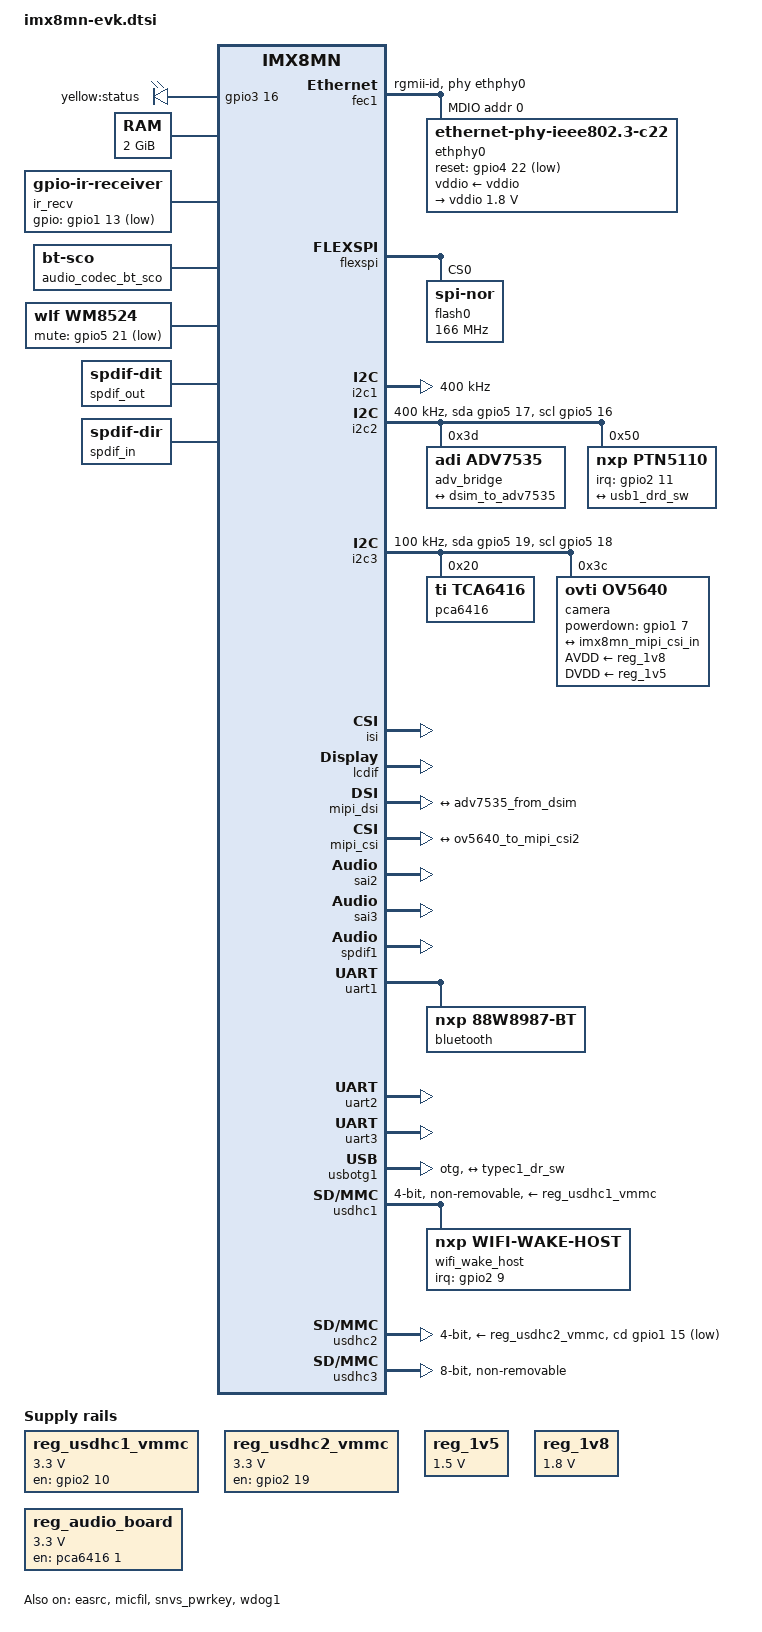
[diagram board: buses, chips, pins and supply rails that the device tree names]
// SPDX-License-Identifier: (GPL-2.0+ OR MIT)
/*
 * Copyright 2019 NXP
 */

#include <dt-bindings/usb/pd.h>
#include "imx8mn.dtsi"

/ {
	chosen {
		stdout-path = &uart2;
	};

	gpio-leds {
		compatible = "gpio-leds";
		pinctrl-names = "default";
		pinctrl-0 = <&pinctrl_gpio_led>;

		status {
			label = "yellow:status";
			gpios = <&gpio3 16 GPIO_ACTIVE_HIGH>;
			default-state = "on";
		};
	};

	memory@40000000 {
		device_type = "memory";
		reg = <0x0 0x40000000 0 0x80000000>;
	};

	ir_recv: ir-receiver {
		compatible = "gpio-ir-receiver";
		gpios = <&gpio1 13 GPIO_ACTIVE_LOW>;
		pinctrl-names = "default";
		pinctrl-0 = <&pinctrl_ir_recv>;
		linux,autosuspend-period = <125>;
	};

	reg_usdhc1_vmmc: regulator-usdhc1 {
		compatible = "regulator-fixed";
		regulator-name = "WLAN_EN";
		pinctrl-names = "default";
		pinctrl-0 = <&pinctrl_reg_usdhc1_vmmc>;
		regulator-min-microvolt = <3300000>;
		regulator-max-microvolt = <3300000>;
		gpio = <&gpio2 10 GPIO_ACTIVE_HIGH>;
		enable-active-high;
	};

	reg_usdhc2_vmmc: regulator-usdhc2 {
		compatible = "regulator-fixed";
		pinctrl-names = "default";
		pinctrl-0 = <&pinctrl_reg_usdhc2_vmmc>;
		regulator-name = "VSD_3V3";
		regulator-min-microvolt = <3300000>;
		regulator-max-microvolt = <3300000>;
		gpio = <&gpio2 19 GPIO_ACTIVE_HIGH>;
		off-on-delay-us = <12000>;
		enable-active-high;
	};

	reg_1v5: regulator-1v5 {
		compatible = "regulator-fixed";
		regulator-name = "VDD_1V5";
		regulator-min-microvolt = <1500000>;
		regulator-max-microvolt = <1500000>;
	};

	reg_1v8: regulator-1v8 {
		compatible = "regulator-fixed";
		regulator-name = "VDD_1V8";
		regulator-min-microvolt = <1800000>;
		regulator-max-microvolt = <1800000>;
	};

	ir-receiver {
		compatible = "gpio-ir-receiver";
		gpios = <&gpio1 13 GPIO_ACTIVE_LOW>;
		pinctrl-names = "default";
		pinctrl-0 = <&pinctrl_ir>;
		linux,autosuspend-period = <125>;
	};

	reg_audio_board: regulator-audio-board {
		compatible = "regulator-fixed";
		regulator-name = "EXT_PWREN";
		regulator-min-microvolt = <3300000>;
		regulator-max-microvolt = <3300000>;
		enable-active-high;
		startup-delay-us = <300000>;
		gpio = <&pca6416 1 GPIO_ACTIVE_HIGH>;
		regulator-always-on;
	};

	audio_codec_bt_sco: audio-codec-bt-sco {
		compatible = "linux,bt-sco";
		#sound-dai-cells = <1>;
	};

	wm8524: audio-codec {
		#sound-dai-cells = <0>;
		compatible = "wlf,wm8524";
		pinctrl-names = "default";
		pinctrl-0 = <&pinctrl_gpio_wlf>;
		wlf,mute-gpios = <&gpio5 21 GPIO_ACTIVE_LOW>;
		clocks = <&clk IMX8MN_CLK_SAI3_ROOT>;
		clock-names = "mclk";
	};

	sound-bt-sco {
		compatible = "simple-audio-card";
		simple-audio-card,name = "bt-sco-audio";
		simple-audio-card,format = "dsp_a";
		simple-audio-card,bitclock-inversion;
		simple-audio-card,frame-master = <&btcpu>;
		simple-audio-card,bitclock-master = <&btcpu>;

		btcpu: simple-audio-card,cpu {
			sound-dai = <&sai2>;
			dai-tdm-slot-num = <2>;
			dai-tdm-slot-width = <16>;
		};

		simple-audio-card,codec {
			sound-dai = <&audio_codec_bt_sco 1>;
		};
	};

	sound-wm8524 {
		compatible = "fsl,imx-audio-wm8524";
		model = "wm8524-audio";
		audio-cpu = <&sai3>;
		audio-codec = <&wm8524>;
		audio-asrc = <&easrc>;
		audio-routing =
			"Line Out Jack", "LINEVOUTL",
			"Line Out Jack", "LINEVOUTR";
	};

	spdif_out: spdif-out {
		compatible = "linux,spdif-dit";
		#sound-dai-cells = <0>;
	};

	spdif_in: spdif-in {
		compatible = "linux,spdif-dir";
		#sound-dai-cells = <0>;
	};

	sound-spdif {
		compatible = "fsl,imx-audio-spdif";
		model = "imx-spdif";
		audio-cpu = <&spdif1>;
		audio-codec = <&spdif_out>, <&spdif_in>;
	};

	sound-micfil {
		compatible = "fsl,imx-audio-card";
		model = "micfil-audio";

		pri-dai-link {
			link-name = "micfil hifi";
			format = "i2s";

			cpu {
				sound-dai = <&micfil>;
			};
		};
	};

	sound-ak5558 {
		compatible = "fsl,imx-audio-card";
		model = "ak5558-audio";
		status = "disabled";
		pri-dai-link {
			link-name = "akcodec";
			format = "i2s";
			fsl,mclk-equal-bclk;
			cpu {
				sound-dai = <&sai5>;
			};
			codec {
				sound-dai = <&ak5558>;
			};
		};
		fe-dai-link {
			link-name = "HiFi-ASRC-FE";
			format = "i2s";
			cpu {
				sound-dai = <&easrc>;
			};
		};
		be-dai-link {
			link-name = "HiFi-ASRC-BE";
			format = "dsp_b";
			dai-tdm-slot-num = <8>;
			dai-tdm-slot-width = <32>;
			cpu {
				sound-dai = <&sai5>;
			};
			codec {
				sound-dai = <&ak5558>;
			};
		};
	};
};

&easrc {
	#sound-dai-cells = <0>;
	fsl,asrc-rate = <48000>;
	status = "okay";
};

&fec1 {
	pinctrl-names = "default";
	pinctrl-0 = <&pinctrl_fec1>;
	phy-mode = "rgmii-id";
	phy-handle = <&ethphy0>;
	fsl,magic-packet;
	status = "okay";

	mdio {
		#address-cells = <1>;
		#size-cells = <0>;

		ethphy0: ethernet-phy@0 {
			compatible = "ethernet-phy-ieee802.3-c22";
			reg = <0>;
			reset-gpios = <&gpio4 22 GPIO_ACTIVE_LOW>;
			reset-assert-us = <10000>;
			reset-deassert-us = <80000>;
			realtek,aldps-enable;
			realtek,clkout-disable;
			qca,disable-smarteee;
			vddio-supply = <&vddio>;

			vddio: vddio-regulator {
				regulator-min-microvolt = <1800000>;
				regulator-max-microvolt = <1800000>;
			};
		};
	};
};

&flexspi {
	pinctrl-names = "default";
	pinctrl-0 = <&pinctrl_flexspi>;
	status = "okay";

	flash0: flash@0 {
		compatible = "jedec,spi-nor";
		reg = <0>;
		#address-cells = <1>;
		#size-cells = <1>;
		spi-max-frequency = <166000000>;
		spi-tx-bus-width = <1>;
		spi-rx-bus-width = <4>;
	};
};

&i2c1 {
	clock-frequency = <400000>;
	pinctrl-names = "default";
	pinctrl-0 = <&pinctrl_i2c1>;
	status = "okay";
};

&i2c2 {
	clock-frequency = <400000>;
	pinctrl-names = "default", "gpio";
	pinctrl-0 = <&pinctrl_i2c2>;
	pinctrl-1 = <&pinctrl_i2c2_gpio>;
	scl-gpios = <&gpio5 16 (GPIO_ACTIVE_HIGH | GPIO_OPEN_DRAIN)>;
	sda-gpios = <&gpio5 17 (GPIO_ACTIVE_HIGH | GPIO_OPEN_DRAIN)>;
	status = "okay";

	adv_bridge: adv7535@3d {
		compatible = "adi,adv7535";
		reg = <0x3d>;
		adi,addr-cec = <0x3b>;
		adi,dsi-lanes = <4>;
		status = "okay";

		port {
			adv7535_from_dsim: endpoint {
				remote-endpoint = <&dsim_to_adv7535>;
			};
		};
	};

	ptn5110: tcpc@50 {
		compatible = "nxp,ptn5110", "tcpci";
		pinctrl-names = "default";
		pinctrl-0 = <&pinctrl_typec1>;
		reg = <0x50>;
		interrupt-parent = <&gpio2>;
		interrupts = <11 IRQ_TYPE_LEVEL_LOW>;
		status = "okay";

		typec1_con: connector {
			compatible = "usb-c-connector";
			label = "USB-C";
			power-role = "dual";
			data-role = "dual";
			try-power-role = "sink";
			source-pdos = <PDO_FIXED(5000, 3000, PDO_FIXED_USB_COMM)>;
			sink-pdos = <PDO_FIXED(5000, 3000, PDO_FIXED_USB_COMM)
				     PDO_VAR(5000, 20000, 3000)>;
			op-sink-microwatt = <15000000>;
			self-powered;

			port {
				typec1_dr_sw: endpoint {
					remote-endpoint = <&usb1_drd_sw>;
				};
			};
		};
	};
};

&i2c3 {
	clock-frequency = <100000>;
	pinctrl-names = "default", "gpio";
	pinctrl-0 = <&pinctrl_i2c3>;
	pinctrl-1 = <&pinctrl_i2c3_gpio>;
	scl-gpios = <&gpio5 18 GPIO_ACTIVE_HIGH>;
	sda-gpios = <&gpio5 19 GPIO_ACTIVE_HIGH>;
	status = "okay";

	pca6416: gpio@20 {
		compatible = "ti,tca6416";
		reg = <0x20>;
		gpio-controller;
		#gpio-cells = <2>;

		ak5558-reset-hog {
			gpio-hog;
			gpios = <3 GPIO_ACTIVE_LOW>;
			output-low;
		};

		ak4497-reset-hog {
			gpio-hog;
			gpios = <5 GPIO_ACTIVE_LOW>;
			output-low;
		};
	};

	ak4458_1: ak4458@10 {
		#sound-dai-cells = <0>;
		compatible = "asahi-kasei,ak4458";
		reg = <0x10>;
		AVDD-supply = <&reg_audio_board>;
		DVDD-supply = <&reg_audio_board>;
		status = "disabled";
	};

	ak4458_2: ak4458@12 {
		#sound-dai-cells = <0>;
		compatible = "asahi-kasei,ak4458";
		reg = <0x12>;
		AVDD-supply = <&reg_audio_board>;
		DVDD-supply = <&reg_audio_board>;
		status = "disabled";
	};

	ak5558: ak5558@13 {
		#sound-dai-cells = <0>;
		compatible = "asahi-kasei,ak5558";
		reg = <0x13>;
		AVDD-supply = <&reg_audio_board>;
		DVDD-supply = <&reg_audio_board>;
		status = "disabled";
	};

	ak4497: ak4497@11 {
		#sound-dai-cells = <0>;
		compatible = "asahi-kasei,ak4497";
		reg = <0x11>;
		AVDD-supply = <&reg_audio_board>;
		DVDD-supply = <&reg_audio_board>;
		status = "disabled";
	};

	camera@3c {
		compatible = "ovti,ov5640";
		reg = <0x3c>;
		pinctrl-names = "default";
		pinctrl-0 = <&pinctrl_camera>;
		clocks = <&clk IMX8MN_CLK_CLKO1>;
		clock-names = "xclk";
		assigned-clocks = <&clk IMX8MN_CLK_CLKO1>;
		assigned-clock-parents = <&clk IMX8MN_CLK_24M>;
		assigned-clock-rates = <24000000>;
		powerdown-gpios = <&gpio1 7 GPIO_ACTIVE_HIGH>;
		AVDD-supply = <&reg_1v8>;
		DVDD-supply = <&reg_1v5>;

		port {
			ov5640_to_mipi_csi2: endpoint {
				remote-endpoint = <&imx8mn_mipi_csi_in>;
				clock-lanes = <0>;
				data-lanes = <1 2>;
			};
		};
	};
};

&isi {
	status = "okay";
};

&lcdif {
	status = "okay";
};

&mipi_dsi {
	status = "okay";

	port@1 {

		dsim_to_adv7535: endpoint {
			remote-endpoint = <&adv7535_from_dsim>;
			attach-bridge;
		};
	};
};

&micfil {
	#sound-dai-cells = <0>;
	pinctrl-names = "default";
	pinctrl-0 = <&pinctrl_pdm>;
	assigned-clocks = <&clk IMX8MN_CLK_PDM>;
	assigned-clock-parents = <&clk IMX8MN_AUDIO_PLL1_OUT>;
	assigned-clock-rates = <196608000>;
	status = "okay";
};

&mipi_csi {
	status = "okay";

	ports {
		port@0 {
			imx8mn_mipi_csi_in: endpoint {
				remote-endpoint = <&ov5640_to_mipi_csi2>;
				data-lanes = <1 2>;
			};
		};
	};
};

&sai2 {
	#sound-dai-cells = <0>;
	pinctrl-names = "default";
	pinctrl-0 = <&pinctrl_sai2>;
	assigned-clocks = <&clk IMX8MN_CLK_SAI2>;
	assigned-clock-parents = <&clk IMX8MN_AUDIO_PLL1_OUT>;
	assigned-clock-rates = <24576000>;
	fsl,sai-mclk-direction-output;
	status = "okay";
};

&sai3 {
	pinctrl-names = "default";
	pinctrl-0 = <&pinctrl_sai3>;
	assigned-clocks = <&clk IMX8MN_CLK_SAI3>;
	assigned-clock-parents = <&clk IMX8MN_AUDIO_PLL1_OUT>;
	assigned-clock-rates = <24576000>;
	fsl,sai-mclk-direction-output;
	status = "okay";
};

&sai5 {
	#sound-dai-cells = <0>;
	pinctrl-names = "default";
	pinctrl-0 = <&pinctrl_sai5>;
	assigned-clocks = <&clk IMX8MN_CLK_SAI5>;
	assigned-clock-parents = <&clk IMX8MN_AUDIO_PLL1_OUT>;
	assigned-clock-rates = <49152000>;
	clocks = <&clk IMX8MN_CLK_SAI5_IPG>, <&clk IMX8MN_CLK_DUMMY>,
		<&clk IMX8MN_CLK_SAI5_ROOT>, <&clk IMX8MN_CLK_DUMMY>,
		<&clk IMX8MN_CLK_DUMMY>, <&clk IMX8MN_AUDIO_PLL1_OUT>,
		<&clk IMX8MN_AUDIO_PLL2_OUT>;
	clock-names = "bus", "mclk0", "mclk1", "mclk2", "mclk3", "pll8k", "pll11k";
	fsl,sai-asynchronous;
	fsl,sai-multi-lane;
	fsl,sai-mclk-direction-output;
	dmas = <&sdma2 8 25 0>, <&sdma2 9 25 0>;
	status = "disabled";
};

&snvs_pwrkey {
	status = "okay";
};

&spdif1 {
	pinctrl-names = "default";
	pinctrl-0 = <&pinctrl_spdif1>;
	assigned-clocks = <&clk IMX8MN_CLK_SPDIF1>;
	assigned-clock-parents = <&clk IMX8MN_AUDIO_PLL1_OUT>;
	assigned-clock-rates = <24576000>;
	clocks = <&clk IMX8MN_CLK_AUDIO_AHB>, <&clk IMX8MN_CLK_24M>,
		<&clk IMX8MN_CLK_SPDIF1>, <&clk IMX8MN_CLK_DUMMY>,
		<&clk IMX8MN_CLK_DUMMY>, <&clk IMX8MN_CLK_DUMMY>,
		<&clk IMX8MN_CLK_AUDIO_AHB>, <&clk IMX8MN_CLK_DUMMY>,
		<&clk IMX8MN_CLK_DUMMY>, <&clk IMX8MN_CLK_DUMMY>,
		<&clk IMX8MN_AUDIO_PLL1_OUT>, <&clk IMX8MN_AUDIO_PLL2_OUT>;
	clock-names = "core", "rxtx0", "rxtx1", "rxtx2", "rxtx3",
		"rxtx4", "rxtx5", "rxtx6", "rxtx7", "spba", "pll8k", "pll11k";
	status = "okay";
};

&uart1 { /* BT */
	pinctrl-names = "default";
	pinctrl-0 = <&pinctrl_uart1>;
	assigned-clocks = <&clk IMX8MN_CLK_UART1>;
	assigned-clock-parents = <&clk IMX8MN_SYS_PLL1_80M>;
	uart-has-rtscts;
	status = "okay";

	bluetooth {
		compatible = "nxp,88w8987-bt";
	};
};

&uart2 { /* console */
	pinctrl-names = "default";
	pinctrl-0 = <&pinctrl_uart2>;
	status = "okay";
};

&uart3 {
	pinctrl-names = "default";
	pinctrl-0 = <&pinctrl_uart3>;
	assigned-clocks = <&clk IMX8MN_CLK_UART3>;
	assigned-clock-parents = <&clk IMX8MN_SYS_PLL1_80M>;
	uart-has-rtscts;
	status = "okay";
};

&usbphynop1 {
	wakeup-source;
};

&usbotg1 {
	dr_mode = "otg";
	hnp-disable;
	srp-disable;
	adp-disable;
	usb-role-switch;
	disable-over-current;
	samsung,picophy-pre-emp-curr-control = <3>;
	samsung,picophy-dc-vol-level-adjust = <7>;
	status = "okay";

	port {
		usb1_drd_sw: endpoint {
			remote-endpoint = <&typec1_dr_sw>;
		};
	};
};

&usdhc1 {
	pinctrl-names = "default", "state_100mhz", "state_200mhz";
	pinctrl-0 = <&pinctrl_usdhc1>, <&pinctrl_wlan>;
	pinctrl-1 = <&pinctrl_usdhc1_100mhz>, <&pinctrl_wlan>;
	pinctrl-2 = <&pinctrl_usdhc1_200mhz>, <&pinctrl_wlan>;
	bus-width = <4>;
	keep-power-in-suspend;
	non-removable;
	wakeup-source;
	vmmc-supply = <&reg_usdhc1_vmmc>;
	status = "okay";

	wifi_wake_host {
		compatible = "nxp,wifi-wake-host";
		interrupt-parent = <&gpio2>;
		interrupts = <9 IRQ_TYPE_LEVEL_LOW>;
		interrupt-names = "host-wake";
	};
};

&usdhc2 {
	assigned-clocks = <&clk IMX8MN_CLK_USDHC2>;
	assigned-clock-rates = <200000000>;
	pinctrl-names = "default", "state_100mhz", "state_200mhz";
	pinctrl-0 = <&pinctrl_usdhc2>, <&pinctrl_usdhc2_gpio>;
	pinctrl-1 = <&pinctrl_usdhc2_100mhz>, <&pinctrl_usdhc2_gpio>;
	pinctrl-2 = <&pinctrl_usdhc2_200mhz>, <&pinctrl_usdhc2_gpio>;
	cd-gpios = <&gpio1 15 GPIO_ACTIVE_LOW>;
	bus-width = <4>;
	vmmc-supply = <&reg_usdhc2_vmmc>;
	status = "okay";
};

&usdhc3 {
	assigned-clocks = <&clk IMX8MN_CLK_USDHC3_ROOT>;
	assigned-clock-rates = <400000000>;
	pinctrl-names = "default", "state_100mhz", "state_200mhz";
	pinctrl-0 = <&pinctrl_usdhc3>;
	pinctrl-1 = <&pinctrl_usdhc3_100mhz>;
	pinctrl-2 = <&pinctrl_usdhc3_200mhz>;
	bus-width = <8>;
	non-removable;
	status = "okay";
};

&wdog1 {
	pinctrl-names = "default";
	pinctrl-0 = <&pinctrl_wdog>;
	fsl,ext-reset-output;
	status = "okay";
};

&iomuxc {
	pinctrl_camera: cameragrp {
		fsl,pins = <
			MX8MN_IOMUXC_GPIO1_IO06_GPIO1_IO6		0x19
			MX8MN_IOMUXC_GPIO1_IO07_GPIO1_IO7		0x19
			MX8MN_IOMUXC_GPIO1_IO14_CCMSRCGPCMIX_CLKO1	0x59
		>;
	};

	pinctrl_ir_recv: ir-recv {
		fsl,pins = <
			MX8MN_IOMUXC_GPIO1_IO13_GPIO1_IO13		0x4f
		>;
	};

	pinctrl_fec1: fec1grp {
		fsl,pins = <
			MX8MN_IOMUXC_ENET_MDC_ENET1_MDC		0x3
			MX8MN_IOMUXC_ENET_MDIO_ENET1_MDIO	0x3
			MX8MN_IOMUXC_ENET_TD3_ENET1_RGMII_TD3	0x1f
			MX8MN_IOMUXC_ENET_TD2_ENET1_RGMII_TD2	0x1f
			MX8MN_IOMUXC_ENET_TD1_ENET1_RGMII_TD1	0x1f
			MX8MN_IOMUXC_ENET_TD0_ENET1_RGMII_TD0	0x1f
			MX8MN_IOMUXC_ENET_RD3_ENET1_RGMII_RD3	0x91
			MX8MN_IOMUXC_ENET_RD2_ENET1_RGMII_RD2	0x91
			MX8MN_IOMUXC_ENET_RD1_ENET1_RGMII_RD1	0x91
			MX8MN_IOMUXC_ENET_RD0_ENET1_RGMII_RD0	0x91
			MX8MN_IOMUXC_ENET_TXC_ENET1_RGMII_TXC	0x1f
			MX8MN_IOMUXC_ENET_RXC_ENET1_RGMII_RXC	0x91
			MX8MN_IOMUXC_ENET_RX_CTL_ENET1_RGMII_RX_CTL	0x91
			MX8MN_IOMUXC_ENET_TX_CTL_ENET1_RGMII_TX_CTL	0x1f
			MX8MN_IOMUXC_SAI2_RXC_GPIO4_IO22	0x19
		>;
	};

	pinctrl_flexspi: flexspigrp {
		fsl,pins = <
			MX8MN_IOMUXC_NAND_ALE_QSPI_A_SCLK               0x1c2
			MX8MN_IOMUXC_NAND_CE0_B_QSPI_A_SS0_B            0x82
			MX8MN_IOMUXC_NAND_DATA00_QSPI_A_DATA0           0x82
			MX8MN_IOMUXC_NAND_DATA01_QSPI_A_DATA1           0x82
			MX8MN_IOMUXC_NAND_DATA02_QSPI_A_DATA2           0x82
			MX8MN_IOMUXC_NAND_DATA03_QSPI_A_DATA3           0x82
		>;
	};

	pinctrl_gpio_led: gpioledgrp {
		fsl,pins = <
			MX8MN_IOMUXC_NAND_READY_B_GPIO3_IO16	0x19
		>;
	};

	pinctrl_i2c2_synaptics_dsx_io: synaptics_dsx_iogrp {
		fsl,pins = <
			MX8MN_IOMUXC_GPIO1_IO09_GPIO1_IO9		0x19
		>;
	};

	pinctrl_gpio_wlf: gpiowlfgrp {
		fsl,pins = <
			MX8MN_IOMUXC_I2C4_SDA_GPIO5_IO21	0xd6
		>;
	};

	pinctrl_ir: irgrp {
		fsl,pins = <
			MX8MN_IOMUXC_GPIO1_IO13_GPIO1_IO13              0x4f
		>;
	};

	pinctrl_i2c1: i2c1grp {
		fsl,pins = <
			MX8MN_IOMUXC_I2C1_SCL_I2C1_SCL		0x400001c3
			MX8MN_IOMUXC_I2C1_SDA_I2C1_SDA		0x400001c3
		>;
	};

	pinctrl_i2c2: i2c2grp {
		fsl,pins = <
			MX8MN_IOMUXC_I2C2_SCL_I2C2_SCL		0x400001c3
			MX8MN_IOMUXC_I2C2_SDA_I2C2_SDA		0x400001c3
		>;
	};

	pinctrl_i2c2_gpio: i2c2gpiogrp {
		fsl,pins = <
			MX8MN_IOMUXC_I2C2_SCL_GPIO5_IO16	0x1c3
			MX8MN_IOMUXC_I2C2_SDA_GPIO5_IO17	0x1c3
		>;
	};

	pinctrl_i2c3: i2c3grp {
		fsl,pins = <
			MX8MN_IOMUXC_I2C3_SCL_I2C3_SCL		0x400001c3
			MX8MN_IOMUXC_I2C3_SDA_I2C3_SDA		0x400001c3
		>;
	};

	pinctrl_i2c3_gpio: i2c3gpiogrp {
		fsl,pins = <
			MX8MN_IOMUXC_I2C3_SCL_GPIO5_IO18	0x1c3
			MX8MN_IOMUXC_I2C3_SDA_GPIO5_IO19	0x1c3
		>;
	};

	pinctrl_pdm: pdmgrp {
		fsl,pins = <
			MX8MN_IOMUXC_SAI5_MCLK_SAI5_MCLK	0xd6
			MX8MN_IOMUXC_SAI5_RXC_PDM_CLK		0xd6
			MX8MN_IOMUXC_SAI5_RXFS_SAI5_RX_SYNC	0xd6
			MX8MN_IOMUXC_SAI5_RXD0_PDM_BIT_STREAM0	0xd6
			MX8MN_IOMUXC_SAI5_RXD1_PDM_BIT_STREAM1	0xd6
			MX8MN_IOMUXC_SAI5_RXD2_PDM_BIT_STREAM2	0xd6
			MX8MN_IOMUXC_SAI5_RXD3_PDM_BIT_STREAM3	0xd6
		>;
	};

	pinctrl_pmic: pmicirqgrp {
		fsl,pins = <
			MX8MN_IOMUXC_GPIO1_IO03_GPIO1_IO3	0x141
		>;
	};

	pinctrl_mipi_dsi_en: mipi_dsi_en {
		fsl,pins = <
			MX8MN_IOMUXC_GPIO1_IO08_GPIO1_IO8		0x16
		>;
	};

	pinctrl_pdm: pdmgrp {
		fsl,pins = <
			MX8MN_IOMUXC_SAI5_MCLK_SAI5_MCLK	0xd6
			MX8MN_IOMUXC_SAI5_RXC_PDM_CLK		0xd6
			MX8MN_IOMUXC_SAI5_RXFS_SAI5_RX_SYNC	0xd6
			MX8MN_IOMUXC_SAI5_RXD0_PDM_BIT_STREAM0	0xd6
			MX8MN_IOMUXC_SAI5_RXD1_PDM_BIT_STREAM1	0xd6
			MX8MN_IOMUXC_SAI5_RXD2_PDM_BIT_STREAM2	0xd6
			MX8MN_IOMUXC_SAI5_RXD3_PDM_BIT_STREAM3	0xd6
		>;
	};

	pinctrl_sai5: sai5grp {
		fsl,pins = <
			MX8MN_IOMUXC_SAI5_MCLK_SAI5_MCLK	0xd6
			MX8MN_IOMUXC_SAI5_RXC_SAI5_RX_BCLK	0xd6
			MX8MN_IOMUXC_SAI5_RXFS_SAI5_RX_SYNC	0xd6
			MX8MN_IOMUXC_SAI5_RXD0_SAI5_RX_DATA0	0xd6
			MX8MN_IOMUXC_SAI5_RXD1_SAI5_RX_DATA1    0xd6
			MX8MN_IOMUXC_SAI5_RXD2_SAI5_RX_DATA2    0xd6
			MX8MN_IOMUXC_SAI5_RXD3_SAI5_RX_DATA3    0xd6
		>;
	};

	pinctrl_reg_usdhc2_vmmc: regusdhc2vmmcgrp {
		fsl,pins = <
			MX8MN_IOMUXC_SD2_RESET_B_GPIO2_IO19	0x41
		>;
	};

	pinctrl_sai2: sai2grp {
		fsl,pins = <
			MX8MN_IOMUXC_SAI2_TXC_SAI2_TX_BCLK      0xd6
			MX8MN_IOMUXC_SAI2_TXFS_SAI2_TX_SYNC     0xd6
			MX8MN_IOMUXC_SAI2_TXD0_SAI2_TX_DATA0    0xd6
			MX8MN_IOMUXC_SAI2_RXD0_SAI2_RX_DATA0    0xd6
		>;
	};

	pinctrl_sai3: sai3grp {
		fsl,pins = <
			MX8MN_IOMUXC_SAI3_TXFS_SAI3_TX_SYNC     0xd6
			MX8MN_IOMUXC_SAI3_TXC_SAI3_TX_BCLK      0xd6
			MX8MN_IOMUXC_SAI3_MCLK_SAI3_MCLK        0xd6
			MX8MN_IOMUXC_SAI3_TXD_SAI3_TX_DATA0     0xd6
		>;
	};

	pinctrl_spdif1: spdif1grp {
		fsl,pins = <
			MX8MN_IOMUXC_SPDIF_TX_SPDIF1_OUT	0xd6
			MX8MN_IOMUXC_SPDIF_RX_SPDIF1_IN		0xd6
		>;
	};

	pinctrl_typec1: typec1grp {
		fsl,pins = <
			MX8MN_IOMUXC_SD1_STROBE_GPIO2_IO11	0x159
		>;
	};

	pinctrl_uart1: uart1grp {
		fsl,pins = <
			MX8MN_IOMUXC_UART1_RXD_UART1_DCE_RX	0x140
			MX8MN_IOMUXC_UART1_TXD_UART1_DCE_TX	0x140
			MX8MN_IOMUXC_UART3_RXD_UART1_DCE_CTS_B	0x140
			MX8MN_IOMUXC_UART3_TXD_UART1_DCE_RTS_B	0x140
		>;
	};

	pinctrl_uart2: uart2grp {
		fsl,pins = <
			MX8MN_IOMUXC_UART2_RXD_UART2_DCE_RX	0x140
			MX8MN_IOMUXC_UART2_TXD_UART2_DCE_TX	0x140
		>;
	};

	pinctrl_uart3: uart3grp {
		fsl,pins = <
			MX8MN_IOMUXC_ECSPI1_SCLK_UART3_DCE_RX		0x140
			MX8MN_IOMUXC_ECSPI1_MOSI_UART3_DCE_TX		0x140
			MX8MN_IOMUXC_ECSPI1_SS0_UART3_DCE_RTS_B	0x140
			MX8MN_IOMUXC_ECSPI1_MISO_UART3_DCE_CTS_B	0x140
		>;
	};

	pinctrl_reg_usdhc1_vmmc: regusdhc1vmmcgrp {
		fsl,pins = <
			MX8MN_IOMUXC_SD1_RESET_B_GPIO2_IO10	0x141
		>;
	};

	pinctrl_usdhc1: usdhc1grp {
		fsl,pins = <
			MX8MN_IOMUXC_SD1_CLK_USDHC1_CLK		0x190
			MX8MN_IOMUXC_SD1_CMD_USDHC1_CMD		0x1d0
			MX8MN_IOMUXC_SD1_DATA0_USDHC1_DATA0	0x1d0
			MX8MN_IOMUXC_SD1_DATA1_USDHC1_DATA1	0x1d0
			MX8MN_IOMUXC_SD1_DATA2_USDHC1_DATA2	0x1d0
			MX8MN_IOMUXC_SD1_DATA3_USDHC1_DATA3	0x1d0
		>;
	};

	pinctrl_usdhc1_100mhz: usdhc1grp100mhz {
		fsl,pins = <
			MX8MN_IOMUXC_SD1_CLK_USDHC1_CLK		0x194
			MX8MN_IOMUXC_SD1_CMD_USDHC1_CMD		0x1d4
			MX8MN_IOMUXC_SD1_DATA0_USDHC1_DATA0	0x1d4
			MX8MN_IOMUXC_SD1_DATA1_USDHC1_DATA1	0x1d4
			MX8MN_IOMUXC_SD1_DATA2_USDHC1_DATA2	0x1d4
			MX8MN_IOMUXC_SD1_DATA3_USDHC1_DATA3	0x1d4
		>;
	};

	pinctrl_usdhc1_200mhz: usdhc1grp200mhz {
		fsl,pins = <
			MX8MN_IOMUXC_SD1_CLK_USDHC1_CLK		0x196
			MX8MN_IOMUXC_SD1_CMD_USDHC1_CMD		0x1d6
			MX8MN_IOMUXC_SD1_DATA0_USDHC1_DATA0	0x1d6
			MX8MN_IOMUXC_SD1_DATA1_USDHC1_DATA1	0x1d6
			MX8MN_IOMUXC_SD1_DATA2_USDHC1_DATA2	0x1d6
			MX8MN_IOMUXC_SD1_DATA3_USDHC1_DATA3	0x1d6
		>;
	};

	pinctrl_usdhc2_gpio: usdhc2gpiogrp {
		fsl,pins = <
			MX8MN_IOMUXC_GPIO1_IO15_GPIO1_IO15	0x1c4
		>;
	};

	pinctrl_usdhc2: usdhc2grp {
		fsl,pins = <
			MX8MN_IOMUXC_SD2_CLK_USDHC2_CLK		0x190
			MX8MN_IOMUXC_SD2_CMD_USDHC2_CMD		0x1d0
			MX8MN_IOMUXC_SD2_DATA0_USDHC2_DATA0	0x1d0
			MX8MN_IOMUXC_SD2_DATA1_USDHC2_DATA1	0x1d0
			MX8MN_IOMUXC_SD2_DATA2_USDHC2_DATA2	0x1d0
			MX8MN_IOMUXC_SD2_DATA3_USDHC2_DATA3	0x1d0
			MX8MN_IOMUXC_GPIO1_IO04_USDHC2_VSELECT	0x1d0
		>;
	};

	pinctrl_usdhc2_100mhz: usdhc2-100mhzgrp {
		fsl,pins = <
			MX8MN_IOMUXC_SD2_CLK_USDHC2_CLK		0x194
			MX8MN_IOMUXC_SD2_CMD_USDHC2_CMD		0x1d4
			MX8MN_IOMUXC_SD2_DATA0_USDHC2_DATA0	0x1d4
			MX8MN_IOMUXC_SD2_DATA1_USDHC2_DATA1	0x1d4
			MX8MN_IOMUXC_SD2_DATA2_USDHC2_DATA2	0x1d4
			MX8MN_IOMUXC_SD2_DATA3_USDHC2_DATA3	0x1d4
			MX8MN_IOMUXC_GPIO1_IO04_USDHC2_VSELECT	0x1d0
		>;
	};

	pinctrl_usdhc2_200mhz: usdhc2-200mhzgrp {
		fsl,pins = <
			MX8MN_IOMUXC_SD2_CLK_USDHC2_CLK		0x196
			MX8MN_IOMUXC_SD2_CMD_USDHC2_CMD		0x1d6
			MX8MN_IOMUXC_SD2_DATA0_USDHC2_DATA0	0x1d6
			MX8MN_IOMUXC_SD2_DATA1_USDHC2_DATA1	0x1d6
			MX8MN_IOMUXC_SD2_DATA2_USDHC2_DATA2	0x1d6
			MX8MN_IOMUXC_SD2_DATA3_USDHC2_DATA3	0x1d6
			MX8MN_IOMUXC_GPIO1_IO04_USDHC2_VSELECT	0x1d0
		>;
	};

	pinctrl_usdhc3: usdhc3grp {
		fsl,pins = <
			MX8MN_IOMUXC_NAND_WE_B_USDHC3_CLK		0x40000190
			MX8MN_IOMUXC_NAND_WP_B_USDHC3_CMD		0x1d0
			MX8MN_IOMUXC_NAND_DATA04_USDHC3_DATA0		0x1d0
			MX8MN_IOMUXC_NAND_DATA05_USDHC3_DATA1		0x1d0
			MX8MN_IOMUXC_NAND_DATA06_USDHC3_DATA2		0x1d0
			MX8MN_IOMUXC_NAND_DATA07_USDHC3_DATA3		0x1d0
			MX8MN_IOMUXC_NAND_RE_B_USDHC3_DATA4		0x1d0
			MX8MN_IOMUXC_NAND_CE2_B_USDHC3_DATA5		0x1d0
			MX8MN_IOMUXC_NAND_CE3_B_USDHC3_DATA6		0x1d0
			MX8MN_IOMUXC_NAND_CLE_USDHC3_DATA7		0x1d0
			MX8MN_IOMUXC_NAND_CE1_B_USDHC3_STROBE		0x190
		>;
	};

	pinctrl_usdhc3_100mhz: usdhc3-100mhzgrp {
		fsl,pins = <
			MX8MN_IOMUXC_NAND_WE_B_USDHC3_CLK		0x40000194
			MX8MN_IOMUXC_NAND_WP_B_USDHC3_CMD		0x1d4
			MX8MN_IOMUXC_NAND_DATA04_USDHC3_DATA0		0x1d4
			MX8MN_IOMUXC_NAND_DATA05_USDHC3_DATA1		0x1d4
			MX8MN_IOMUXC_NAND_DATA06_USDHC3_DATA2		0x1d4
			MX8MN_IOMUXC_NAND_DATA07_USDHC3_DATA3		0x1d4
			MX8MN_IOMUXC_NAND_RE_B_USDHC3_DATA4		0x1d4
			MX8MN_IOMUXC_NAND_CE2_B_USDHC3_DATA5		0x1d4
			MX8MN_IOMUXC_NAND_CE3_B_USDHC3_DATA6		0x1d4
			MX8MN_IOMUXC_NAND_CLE_USDHC3_DATA7		0x1d4
			MX8MN_IOMUXC_NAND_CE1_B_USDHC3_STROBE		0x194
		>;
	};

	pinctrl_usdhc3_200mhz: usdhc3-200mhzgrp {
		fsl,pins = <
			MX8MN_IOMUXC_NAND_WE_B_USDHC3_CLK		0x40000196
			MX8MN_IOMUXC_NAND_WP_B_USDHC3_CMD		0x1d6
			MX8MN_IOMUXC_NAND_DATA04_USDHC3_DATA0		0x1d6
			MX8MN_IOMUXC_NAND_DATA05_USDHC3_DATA1		0x1d6
			MX8MN_IOMUXC_NAND_DATA06_USDHC3_DATA2		0x1d6
			MX8MN_IOMUXC_NAND_DATA07_USDHC3_DATA3		0x1d6
			MX8MN_IOMUXC_NAND_RE_B_USDHC3_DATA4		0x1d6
			MX8MN_IOMUXC_NAND_CE2_B_USDHC3_DATA5		0x1d6
			MX8MN_IOMUXC_NAND_CE3_B_USDHC3_DATA6		0x1d6
			MX8MN_IOMUXC_NAND_CLE_USDHC3_DATA7		0x1d6
			MX8MN_IOMUXC_NAND_CE1_B_USDHC3_STROBE		0x196
		>;
	};

	pinctrl_wdog: wdoggrp {
		fsl,pins = <
			MX8MN_IOMUXC_GPIO1_IO02_WDOG1_WDOG_B		0x166
		>;
	};

	pinctrl_wlan: wlangrp {
		fsl,pins = <
			MX8MN_IOMUXC_GPIO1_IO00_ANAMIX_REF_CLK_32K	0x141
			MX8MN_IOMUXC_SD1_DATA7_GPIO2_IO9		0x159
		>;
	};
};
